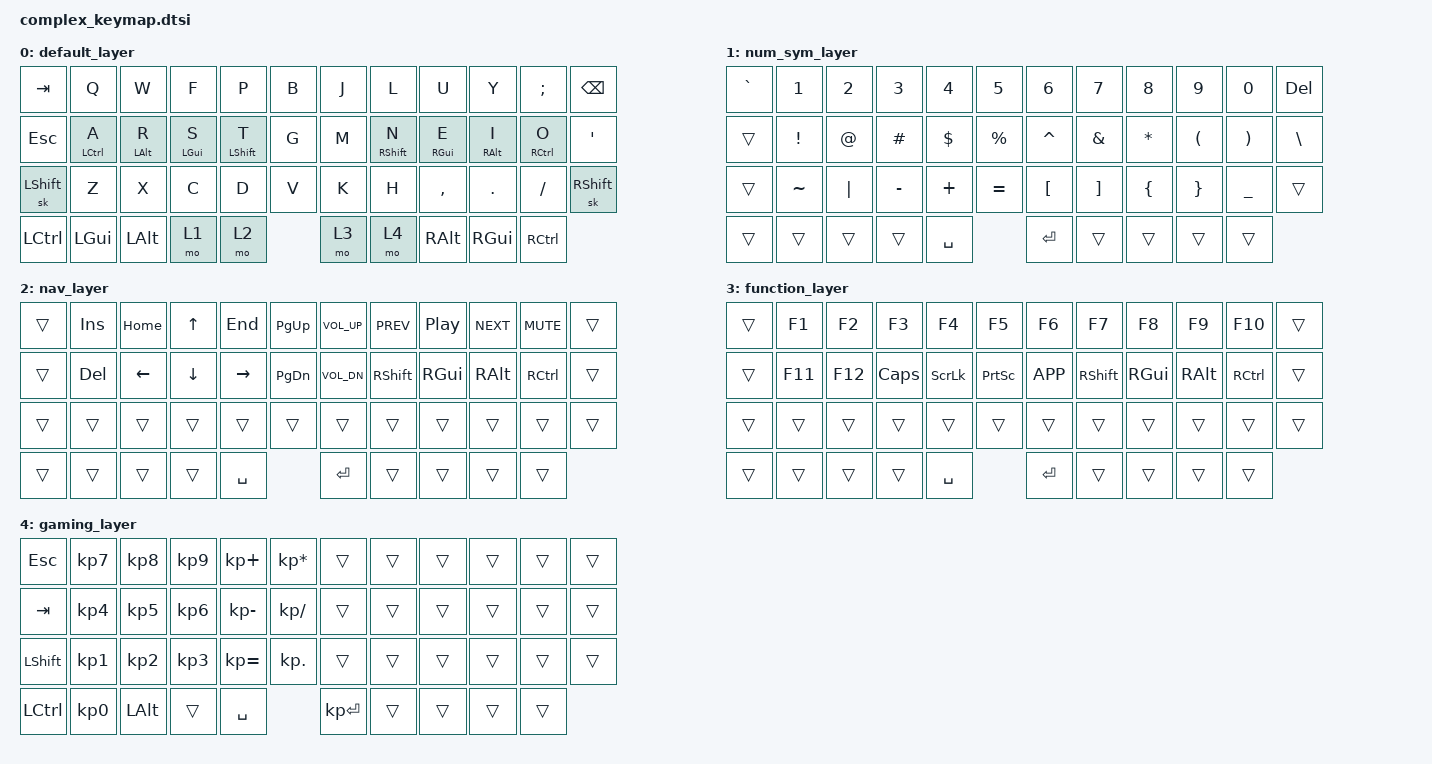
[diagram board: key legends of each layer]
/*
 * Complex keymap example for ZMK to Kanata Converter
 * This example demonstrates a combination of supported features:
 * - Multiple layers (5 layers)
 * - Mod-tap keys (homerow mods)
 * - Sticky keys
 * - Layer momentary switches
 * - Transparent keys
 */

#include <behaviors.dtsi>
#include <dt-bindings/zmk/keys.h>

/ {
    behaviors {
        sk: sticky_key {
            compatible = "zmk,behavior-sticky-key";
            label = "STICKY_KEY";
            #binding-cells = <1>;
            bindings = <&kp>;
            release-after-ms = <1000>;
            quick-release;
        };
    };

    keymap {
        compatible = "zmk,keymap";
        
        // Base layer - Colemak-DH
        default_layer {
            bindings = <
                &kp TAB   &kp Q &kp W &kp F &kp P &kp B   &kp J &kp L  &kp U     &kp Y   &kp SEMI &kp BSPC
                &kp ESC   &mt LCTRL A &mt LALT R &mt LGUI S &mt LSHIFT T &kp G   &kp M &mt RSHIFT N  &mt RGUI E &mt RALT I &mt RCTRL O &kp SQT
                &sk LSHFT &kp Z &kp X &kp C &kp D &kp V   &kp K &kp H  &kp COMMA &kp DOT &kp FSLH &sk RSHFT
                &kp LCTRL &kp LGUI &kp LALT &mo 1 &mo 2 &mo 3 &mo 4 &kp RALT &kp RGUI &kp RCTRL
            >;
        };
        
        // Layer 1 - Numbers and symbols
        num_sym_layer {
            bindings = <
                &kp GRAVE &kp N1 &kp N2 &kp N3 &kp N4 &kp N5   &kp N6 &kp N7 &kp N8 &kp N9 &kp N0 &kp DEL
                &trans    &kp EXCL &kp AT &kp HASH &kp DLLR &kp PRCNT   &kp CARET &kp AMPS &kp STAR &kp LPAR &kp RPAR &kp BSLH
                &trans    &kp TILDE &kp PIPE &kp MINUS &kp PLUS &kp EQUAL   &kp LBKT &kp RBKT &kp LBRC &kp RBRC &kp UNDER &trans
                &trans    &trans &trans &trans &kp SPACE &kp RET &trans &trans &trans &trans
            >;
        };
        
        // Layer 2 - Navigation
        nav_layer {
            bindings = <
                &trans    &kp INS &kp HOME &kp UP &kp END &kp PG_UP   &kp C_VOL_UP &kp C_PREV &kp C_PP &kp C_NEXT &kp C_MUTE &trans
                &trans    &kp DEL &kp LEFT &kp DOWN &kp RIGHT &kp PG_DN   &kp C_VOL_DN &kp RSHIFT &kp RGUI &kp RALT &kp RCTRL &trans
                &trans    &trans &trans &trans &trans &trans   &trans &trans &trans &trans &trans &trans
                &trans    &trans &trans &trans &kp SPACE &kp RET &trans &trans &trans &trans
            >;
        };
        
        // Layer 3 - Function keys
        function_layer {
            bindings = <
                &trans    &kp F1 &kp F2 &kp F3 &kp F4 &kp F5   &kp F6 &kp F7 &kp F8 &kp F9 &kp F10 &trans
                &trans    &kp F11 &kp F12 &kp CAPS &kp SLCK &kp PSCRN   &kp K_APP &kp RSHIFT &kp RGUI &kp RALT &kp RCTRL &trans
                &trans    &trans &trans &trans &trans &trans   &trans &trans &trans &trans &trans &trans
                &trans    &trans &trans &trans &kp SPACE &kp RET &trans &trans &trans &trans
            >;
        };
        
        // Layer 4 - Gaming/Numpad
        gaming_layer {
            bindings = <
                &kp ESC   &kp KP_N7 &kp KP_N8 &kp KP_N9 &kp KP_PLUS &kp KP_MULTIPLY   &trans &trans &trans &trans &trans &trans
                &kp TAB   &kp KP_N4 &kp KP_N5 &kp KP_N6 &kp KP_MINUS &kp KP_DIVIDE   &trans &trans &trans &trans &trans &trans
                &kp LSHFT &kp KP_N1 &kp KP_N2 &kp KP_N3 &kp KP_EQUAL &kp KP_DOT   &trans &trans &trans &trans &trans &trans
                &kp LCTRL &kp KP_N0 &kp LALT &trans &kp SPACE &kp KP_ENTER   &trans &trans &trans &trans
            >;
        };
    };
}; 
